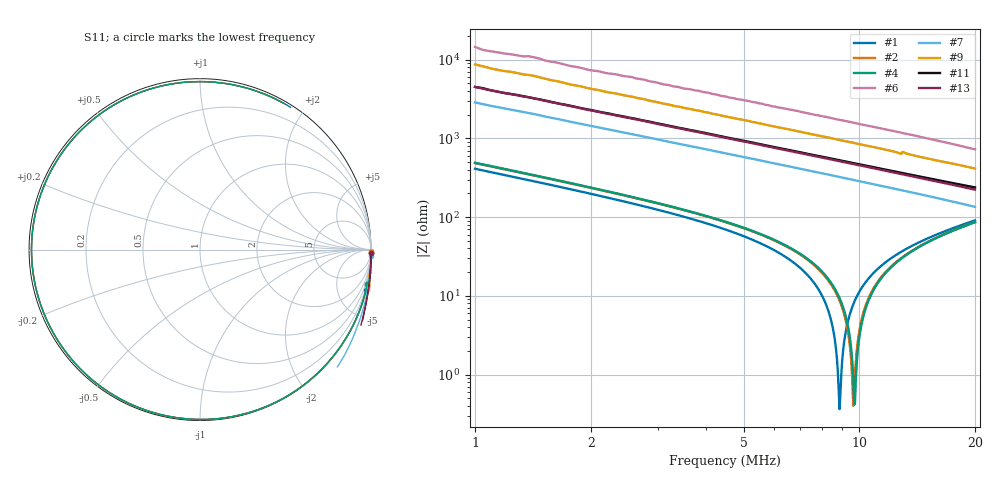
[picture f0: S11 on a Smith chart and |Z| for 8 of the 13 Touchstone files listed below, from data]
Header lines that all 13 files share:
# HZ S RI R 50
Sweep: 1 MHz to 20 MHz
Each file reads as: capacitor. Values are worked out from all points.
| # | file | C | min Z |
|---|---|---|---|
| 1 | LCprimary_ver1_2026_04_14.s1p | 381 pF | 364 mohm |
| 2 | LCprimary_ver2_2026_04_14.s1p | 323 pF | 401 mohm |
| 3 | LCprimary_ver3_2026_04_14.s1p | 315 pF | 376 mohm |
| 4 | LCprimary_with_varicon2_2026_04_14.s1p | 320 pF | 419 mohm |
| 5 | LCprimary_with_varicon2_empty_2026_04_14.s1p | 297 pF | 448 mohm |
| 6 | varicon1_about0_1-20M_2026_03_30.s1p | 10.7 pF | 727 ohm |
| 7 | varicon1_about_half_1-20M_2026_03_30.s1p | 55 pF | 135 ohm |
| 8 | varicon1_revised_1-20M_2026_04_10.s1p | 463 pF | 6.7 ohm |
| 9 | varicon1_target_1-20M_2026_03_30.s1p | 18.4 pF | 415 ohm |
| 10 | varicon2_half_1-20M_2026_03_30.s1p | 16.8 pF | 472 ohm |
| 11 | varicon2_max_1-20M_2026_03_30.s1p | 34.6 pF | 238 ohm |
| 12 | varicon2_zero_1-20M_2026_03_30.s1p | 5.03 pF | 1.49 kohm |
| 13 | varicon3_full_1-20M_2026_04_09.s1p | 34.9 pF | 224 ohm |
